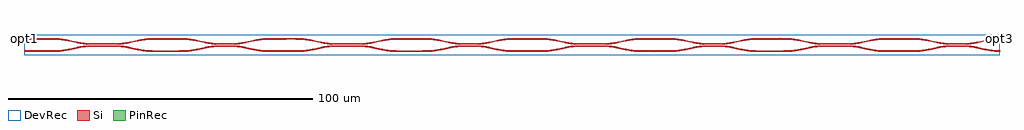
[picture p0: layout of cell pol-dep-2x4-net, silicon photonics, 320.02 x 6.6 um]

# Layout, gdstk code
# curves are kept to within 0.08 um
import gdstk
lib = gdstk.Library(unit=1e-6, precision=1e-09)
def R(c, l, rs):  # rectangles x0, y0, x1, y1
    for r in rs: c.add(gdstk.rectangle(r[:2], r[2:], *l))
def P(c, l, *ps):  # polygons
    for p in ps: c.add(gdstk.Polygon(p, *l))
Si = (1, 0)
PinRec = (1, 10)
DevRec = (68, 0)

layer_0_0_phase_sec_0_3 = lib.new_cell('layer-0_0_phase_sec_0$3')
P(layer_0_0_phase_sec_0_3, Si, [(4.576,-0.295),(0,-0.225),(0,0.225),(4.576,0.295),(6.102,0.209),(10,0.225),(10,-0.225),(6.102,-0.209)])

layer_0_0_phase_sec_1_3 = lib.new_cell('layer-0_0_phase_sec_1$3')
P(layer_0_0_phase_sec_1_3, Si, [(1.538,-0.235),(0,-0.225),(0,0.225),(10,0.225),(10,-0.225)])

dc_arm_up_8_3 = lib.new_cell('dc_arm_up_8$3')
R(dc_arm_up_8_3, Si, [(12,0.1,20,0.55)])
P(dc_arm_up_8_3, Si, [(12,0.1),(10.861,0.137),(9.344,0.292),(2.966,1.532),(1.481,1.712),(0,1.775),(0,2.225),(1.139,2.188),(2.656,2.033),(9.034,0.793),(10.519,0.613),(12,0.55)],
  [(20,0.1),(20,0.55),(21.481,0.613),(22.966,0.793),(29.344,2.033),(30.861,2.188),(32,2.225),(32,1.775),(30.519,1.712),(29.034,1.532),(22.656,0.292),(21.139,0.137)])

dc_arm_down_8_3 = lib.new_cell('dc_arm_down_8$3')
R(dc_arm_down_8_3, Si, [(12,-0.55,20,-0.1)])
P(dc_arm_down_8_3, Si, [(0,-2.225),(0,-1.775),(1.481,-1.712),(2.966,-1.532),(9.344,-0.292),(10.861,-0.137),(12,-0.1),(12,-0.55),(10.519,-0.613),(9.034,-0.793),(2.656,-2.033),(1.139,-2.188)],
  [(32,-2.225),(30.861,-2.188),(29.344,-2.033),(22.966,-0.793),(21.481,-0.613),(20,-0.55),(20,-0.1),(21.139,-0.137),(22.656,-0.292),(29.034,-1.532),(30.519,-1.712),(32,-1.775)])

dc_8_3 = lib.new_cell('dc_8$3')
dc_8_3.add(gdstk.Reference(dc_arm_up_8_3, (0,0)))
dc_8_3.add(gdstk.Reference(dc_arm_down_8_3, (0,0)))

layer_0_0_phase_sec_2_3 = lib.new_cell('layer-0_0_phase_sec_2$3')
P(layer_0_0_phase_sec_2_3, Si, [(7.723,-0.263),(0,-0.225),(0,0.225),(10,0.225),(10,-0.225)])

layer_0_0_phase_sec_3_3 = lib.new_cell('layer-0_0_phase_sec_3$3')
P(layer_0_0_phase_sec_3_3, Si, [(0,-0.225),(0,0.225),(4.477,0.175),(10,0.225),(10,-0.225),(7.461,-0.175),(1.492,-0.176)])

dc_arm_up_4_3 = lib.new_cell('dc_arm_up_4$3')
R(dc_arm_up_4_3, Si, [(12,0.1,16,0.55)])
P(dc_arm_up_4_3, Si, [(12,0.1),(10.861,0.137),(9.344,0.292),(2.966,1.532),(1.481,1.712),(0,1.775),(0,2.225),(1.139,2.188),(2.656,2.033),(9.034,0.793),(10.519,0.613),(12,0.55)],
  [(16,0.1),(16,0.55),(17.481,0.613),(18.966,0.793),(25.344,2.033),(26.861,2.188),(28,2.225),(28,1.775),(26.519,1.712),(25.034,1.532),(18.656,0.292),(17.139,0.137)])

dc_arm_down_4_3 = lib.new_cell('dc_arm_down_4$3')
R(dc_arm_down_4_3, Si, [(12,-0.55,16,-0.1)])
P(dc_arm_down_4_3, Si, [(0,-2.225),(0,-1.775),(1.481,-1.712),(2.966,-1.532),(9.344,-0.292),(10.861,-0.137),(12,-0.1),(12,-0.55),(10.519,-0.613),(9.034,-0.793),(2.656,-2.033),(1.139,-2.188)],
  [(28,-2.225),(26.861,-2.188),(25.344,-2.033),(18.966,-0.793),(17.481,-0.613),(16,-0.55),(16,-0.1),(17.139,-0.137),(18.656,-0.292),(25.034,-1.532),(26.519,-1.712),(28,-1.775)])

dc_4_3 = lib.new_cell('dc_4$3')
dc_4_3.add(gdstk.Reference(dc_arm_up_4_3, (0,0)))
dc_4_3.add(gdstk.Reference(dc_arm_down_4_3, (0,0)))

layer_1_0_phase_sec_0_3 = lib.new_cell('layer-1_0_phase_sec_0$3')
P(layer_1_0_phase_sec_0_3, Si, [(0,-0.225),(0,0.225),(7.522,0.183),(10,0.225),(10,-0.225),(7.522,-0.183)])

layer_1_0_phase_sec_1_3 = lib.new_cell('layer-1_0_phase_sec_1$3')
P(layer_1_0_phase_sec_1_3, Si, [(7.521,-0.244),(0,-0.225),(0,0.225),(10,0.225),(10,-0.225)])

layer_1_0_phase_sec_2_3 = lib.new_cell('layer-1_0_phase_sec_2$3')
P(layer_1_0_phase_sec_2_3, Si, [(7.674,-0.268),(0,-0.225),(0,0.225),(10,0.225),(10,-0.225)])

layer_1_0_phase_sec_3_3 = lib.new_cell('layer-1_0_phase_sec_3$3')
P(layer_1_0_phase_sec_3_3, Si, [(0,-0.225),(0,0.225),(1.46,0.175),(10,0.225),(10,-0.225),(4.38,-0.175)])

layer_2_0_phase_sec_0_3 = lib.new_cell('layer-2_0_phase_sec_0$3')
P(layer_2_0_phase_sec_0_3, Si, [(3.027,-0.27),(0,-0.225),(0,0.225),(10,0.225),(10,-0.225)])

layer_2_0_phase_sec_1_3 = lib.new_cell('layer-2_0_phase_sec_1$3')
P(layer_2_0_phase_sec_1_3, Si, [(1.577,-0.244),(0,-0.225),(0,0.225),(10,0.225),(10,-0.225)])

layer_2_0_phase_sec_2_3 = lib.new_cell('layer-2_0_phase_sec_2$3')
P(layer_2_0_phase_sec_2_3, Si, [(4.678,-0.234),(0,-0.225),(0,0.225),(10,0.225),(10,-0.225)])

layer_2_0_phase_sec_3_3 = lib.new_cell('layer-2_0_phase_sec_3$3')
P(layer_2_0_phase_sec_3_3, Si, [(4.573,-0.286),(0,-0.225),(0,0.225),(4.573,0.286),(10,0.225),(10,-0.225)])

layer_3_0_phase_sec_0_3 = lib.new_cell('layer-3_0_phase_sec_0$3')
P(layer_3_0_phase_sec_0_3, Si, [(7.788,-0.313),(0,-0.225),(0,0.225),(7.788,0.313),(10,0.225),(10,-0.225)])

layer_3_0_phase_sec_1_3 = lib.new_cell('layer-3_0_phase_sec_1$3')
P(layer_3_0_phase_sec_1_3, Si, [(0,-0.225),(0,0.225),(10,0.225),(10,-0.225)])

layer_3_0_phase_sec_2_3 = lib.new_cell('layer-3_0_phase_sec_2$3')
P(layer_3_0_phase_sec_2_3, Si, [(2.947,-0.235),(0,-0.225),(0,0.225),(10,0.225),(10,-0.225)])

layer_3_0_phase_sec_3_3 = lib.new_cell('layer-3_0_phase_sec_3$3')
P(layer_3_0_phase_sec_3_3, Si, [(3.058,-0.273),(0,-0.225),(0,0.225),(10,0.225),(10,-0.225)])

pol_dep_2x4_net = lib.new_cell('pol-dep-2x4-net')
R(pol_dep_2x4_net, DevRec, [(0,-1,320,5.599)])
pol_dep_2x4_net.add(gdstk.FlexPath([(0.01,4.286),(-0.01,4.286)], 0.45, ends="flush", simple_path=True, layer=1, datatype=10))  # PinRec
pol_dep_2x4_net.add(gdstk.FlexPath([(319.99,4.286),(320.01,4.286)], 0.45, ends="flush", simple_path=True, layer=1, datatype=10))  # PinRec
pol_dep_2x4_net.add(gdstk.FlexPath([(319.99,0.286),(320.01,0.286)], 0.45, ends="flush", simple_path=True, layer=1, datatype=10))  # PinRec
pol_dep_2x4_net.add(gdstk.Reference(layer_0_0_phase_sec_0_3, (0,4.286)))
pol_dep_2x4_net.add(gdstk.Reference(layer_0_0_phase_sec_1_3, (0,0.286)))
pol_dep_2x4_net.add(gdstk.Reference(dc_8_3, (10,2.286)))
pol_dep_2x4_net.add(gdstk.Reference(layer_0_0_phase_sec_2_3, (42,4.286)))
pol_dep_2x4_net.add(gdstk.Reference(layer_0_0_phase_sec_3_3, (42,0.286)))
pol_dep_2x4_net.add(gdstk.Reference(dc_4_3, (52,2.286)))
pol_dep_2x4_net.add(gdstk.Reference(layer_1_0_phase_sec_0_3, (80,4.286)))
pol_dep_2x4_net.add(gdstk.Reference(layer_1_0_phase_sec_1_3, (80,0.286)))
pol_dep_2x4_net.add(gdstk.Reference(dc_8_3, (90,2.286)))
pol_dep_2x4_net.add(gdstk.Reference(layer_1_0_phase_sec_2_3, (122,4.286)))
pol_dep_2x4_net.add(gdstk.Reference(layer_1_0_phase_sec_3_3, (122,0.286)))
pol_dep_2x4_net.add(gdstk.Reference(dc_4_3, (132,2.286)))
pol_dep_2x4_net.add(gdstk.Reference(layer_2_0_phase_sec_0_3, (160,4.286)))
pol_dep_2x4_net.add(gdstk.Reference(layer_2_0_phase_sec_1_3, (160,0.286)))
pol_dep_2x4_net.add(gdstk.Reference(dc_8_3, (170,2.286)))
pol_dep_2x4_net.add(gdstk.Reference(layer_2_0_phase_sec_2_3, (202,4.286)))
pol_dep_2x4_net.add(gdstk.Reference(layer_2_0_phase_sec_3_3, (202,0.286)))
pol_dep_2x4_net.add(gdstk.Reference(dc_4_3, (212,2.286)))
pol_dep_2x4_net.add(gdstk.Reference(layer_3_0_phase_sec_0_3, (240,4.286)))
pol_dep_2x4_net.add(gdstk.Reference(layer_3_0_phase_sec_1_3, (240,0.286)))
pol_dep_2x4_net.add(gdstk.Reference(dc_8_3, (250,2.286)))
pol_dep_2x4_net.add(gdstk.Reference(layer_3_0_phase_sec_2_3, (282,4.286)))
pol_dep_2x4_net.add(gdstk.Reference(layer_3_0_phase_sec_3_3, (282,0.286)))
pol_dep_2x4_net.add(gdstk.Reference(dc_4_3, (292,2.286)))
pol_dep_2x4_net.add(gdstk.Label('opt1', (0,4.286), layer=1, texttype=10))
pol_dep_2x4_net.add(gdstk.Label('opt3', (320,4.286), layer=1, texttype=10))
pol_dep_2x4_net.add(gdstk.Label('opt4', (320,0.286), layer=1, texttype=10))

lib.write_gds('pol-dep-2x4-net.gds')
